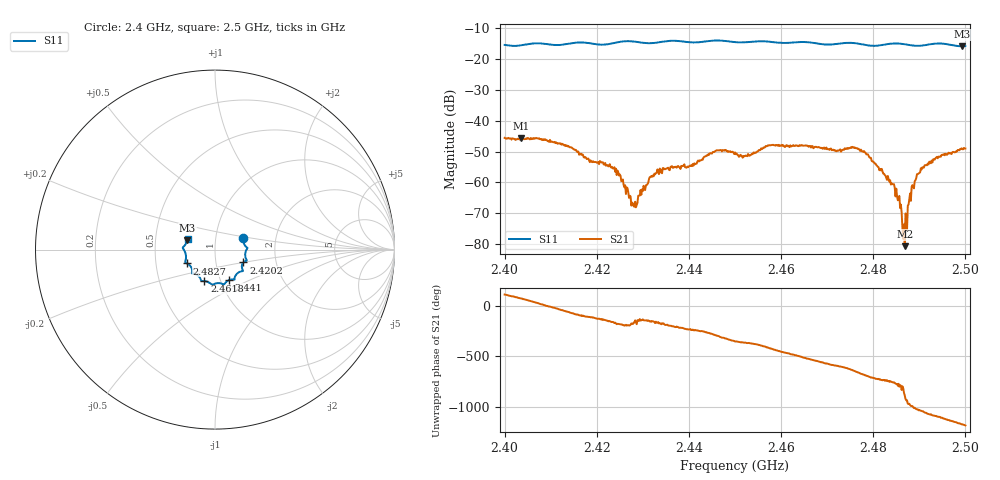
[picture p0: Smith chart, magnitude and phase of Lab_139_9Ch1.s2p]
# Hz S RI R 50
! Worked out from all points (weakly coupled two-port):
!   601 points, 2.4 GHz to 2.5 GHz, reference 50 ohm
!   highest |S21| = -45.55 dB at 2.4035 GHz (marker M1); lowest = -80.7 dB at 2.4868 GHz (marker M2)
!   lowest |S11| = -15.8 dB at 2.4993 GHz (marker M3), VSWR 1.39, Z = 36.5 + j3.84 ohm
!   |S11| at or under -10 dB: start of sweep to end of sweep
!   S12 and S22 are empty: the file has one direction only
!   S11 on the Smith chart (normalised r, x): 2.4 GHz: 1.36, +0.18; 2.4202 GHz: 1.36, -0.20; 2.441 GHz: 1.10, -0.39; 2.4618 GHz: 0.84, -0.30; 2.4827 GHz: 0.72, -0.12; 2.5 GHz: 0.73, +0.09
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2.4e9  0.1585 0.0631  -0.00197 0.00489  0 0  0 0
2.4035e9  0.1662 0.0239  0.00144 0.00508  0 0  0 0
2.416667e9  0.177 -0.0609  -0.000163 -0.00291  0 0  0 0
2.420167e9  0.1586 -0.0713  -0.00129 -0.00163  0 0  0 0
2.424667e9  0.1533 -0.1114  -0.00145 -3.54e-05  0 0  0 0
2.428e9  0.1523 -0.12  -0.000397 -9.49e-05  0 0  0 0
2.433333e9  0.1113 -0.1508  -0.00137 -0.000485  0 0  0 0
2.441e9  0.0788 -0.1697  -0.00091 0.00163  0 0  0 0
2.446167e9  0.0497 -0.1955  0.00147 0.00296  0 0  0 0
2.45e9  0.0283 -0.1873  0.00304 0.000376  0 0  0 0
2.461833e9  -0.059 -0.1754  -0.00154 -0.0034  0 0  0 0
2.466667e9  -0.0788 -0.1685  -0.00385 -0.000404  0 0  0 0
2.4765e9  -0.1273 -0.1275  0.00155 0.00324  0 0  0 0
2.482667e9  -0.1558 -0.0773  0.00123 -0.000352  0 0  0 0
2.483333e9  -0.1602 -0.0753  0.00103 -0.000451  0 0  0 0
2.4855e9  -0.1658 -0.0694  0.000346 -0.000444  0 0  0 0
2.486333e9  -0.1647 -0.0651  4.24e-05 -0.000176  0 0  0 0
2.486833e9  -0.1639 -0.0612  -8.93e-05 -2.09e-05  0 0  0 0
2.488e9  -0.1616 -0.0496  -7.52e-05 0.000654  0 0  0 0
2.49e9  -0.1637 -0.0236  0.000937 0.00107  0 0  0 0
2.499333e9  -0.154 0.0512  -0.000214 -0.00344  0 0  0 0
2.5e9  -0.1523 0.0606  -0.000902 -0.00342  0 0  0 0
